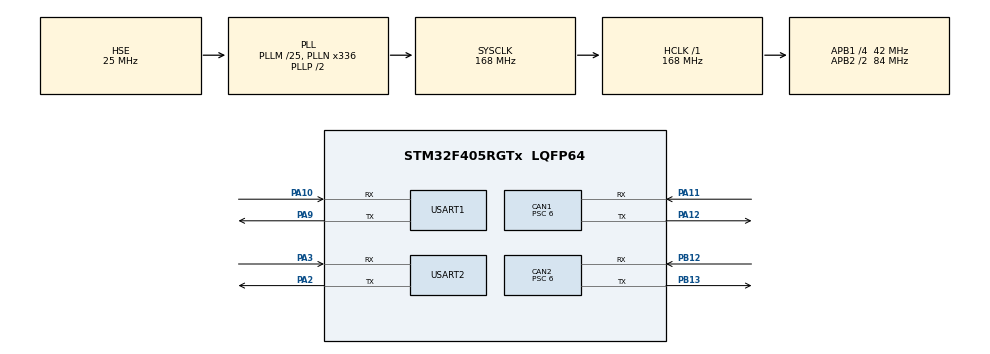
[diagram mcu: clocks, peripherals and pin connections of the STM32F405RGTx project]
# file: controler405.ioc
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CAN1.BS1=CAN_BS1_3TQ
CAN1.BS2=CAN_BS2_3TQ
CAN1.CalculateTimeQuantum=142.85714285714286
CAN1.Prescaler=6
CAN2.BS1=CAN_BS1_3TQ
CAN2.BS2=CAN_BS2_3TQ
CAN2.CalculateTimeQuantum=142.85714285714286
CAN2.Prescaler=6
Dma.Request0=USART1_RX
Dma.Request1=USART2_TX
Dma.USART1_RX.0.Direction=DMA_PERIPH_TO_MEMORY
Dma.USART1_RX.0.FIFOMode=DMA_FIFOMODE_DISABLE
Dma.USART1_RX.0.Instance=DMA2_Stream2
Dma.USART1_RX.0.MemDataAlignment=DMA_MDATAALIGN_BYTE
Dma.USART1_RX.0.MemInc=DMA_MINC_ENABLE
Dma.USART1_RX.0.Mode=DMA_CIRCULAR
Dma.USART1_RX.0.PeriphDataAlignment=DMA_PDATAALIGN_BYTE
Dma.USART1_RX.0.PeriphInc=DMA_PINC_DISABLE
Dma.USART1_RX.0.Priority=DMA_PRIORITY_LOW
Dma.USART2_TX.1.Direction=DMA_MEMORY_TO_PERIPH
Dma.USART2_TX.1.FIFOMode=DMA_FIFOMODE_DISABLE
Dma.USART2_TX.1.Instance=DMA1_Stream6
Dma.USART2_TX.1.MemDataAlignment=DMA_MDATAALIGN_BYTE
Dma.USART2_TX.1.MemInc=DMA_MINC_ENABLE
Dma.USART2_TX.1.Mode=DMA_NORMAL
Dma.USART2_TX.1.PeriphDataAlignment=DMA_PDATAALIGN_BYTE
Dma.USART2_TX.1.PeriphInc=DMA_PINC_DISABLE
Dma.USART2_TX.1.Priority=DMA_PRIORITY_LOW
Mcu.Family=STM32F4
Mcu.Name=STM32F405RGTx
Mcu.Package=LQFP64
NVIC.CAN1_RX0_IRQn=true\:0\:0\:false\:false\:true\:true\:true
NVIC.CAN1_SCE_IRQn=true\:0\:0\:false\:false\:true\:true\:true
NVIC.CAN2_RX1_IRQn=true\:0\:0\:false\:false\:true\:true\:true
NVIC.CAN2_SCE_IRQn=true\:0\:0\:false\:false\:true\:true\:true
NVIC.DMA1_Stream6_IRQn=true\:0\:0\:false\:false\:true\:false\:true
NVIC.DMA2_Stream2_IRQn=true\:0\:0\:false\:false\:true\:false\:true
NVIC.PriorityGroup=NVIC_PRIORITYGROUP_4
NVIC.USART1_IRQn=true\:1\:0\:true\:false\:true\:true\:true
NVIC.USART2_IRQn=true\:1\:0\:true\:false\:true\:true\:true
PA10.GPIO_PuPd=GPIO_PULLUP
PA10.Mode=Asynchronous
PA10.Signal=USART1_RX
PA11.Mode=Master
PA11.Signal=CAN1_RX
PA12.Mode=Master
PA12.Signal=CAN1_TX
PA13.Mode=Serial_Wire
PA13.Signal=SYS_JTMS-SWDIO
PA14.Mode=Serial_Wire
PA14.Signal=SYS_JTCK-SWCLK
PA2.Mode=Asynchronous
PA2.Signal=USART2_TX
PA3.Mode=Asynchronous
PA3.Signal=USART2_RX
PA9.Mode=Asynchronous
PA9.Signal=USART1_TX
PB12.Mode=Slave
PB12.Signal=CAN2_RX
PB13.Mode=Slave
PB13.Signal=CAN2_TX
PH0-OSC_IN.Mode=HSE-External-Oscillator
PH0-OSC_IN.Signal=RCC_OSC_IN
PH1-OSC_OUT.Mode=HSE-External-Oscillator
PH1-OSC_OUT.Signal=RCC_OSC_OUT
ProjectManager.HeapSize=0x200
ProjectManager.StackSize=0x400
ProjectManager.TargetToolchain=MDK-ARM V5
RCC.48MHZClocksFreq_Value=84000000
RCC.AHBFreq_Value=168000000
RCC.APB1CLKDivider=RCC_HCLK_DIV4
RCC.APB1Freq_Value=42000000
RCC.APB1TimFreq_Value=84000000
RCC.APB2CLKDivider=RCC_HCLK_DIV2
RCC.APB2Freq_Value=84000000
RCC.APB2TimFreq_Value=168000000
RCC.CortexFreq_Value=168000000
RCC.HCLKFreq_Value=168000000
RCC.HSE_VALUE=25000000
RCC.HSI_VALUE=16000000
RCC.LSE_VALUE=32768
RCC.PLLM=25
RCC.PLLN=336
RCC.PLLSourceVirtual=RCC_PLLSOURCE_HSE
RCC.SYSCLKFreq_VALUE=168000000
RCC.SYSCLKSource=RCC_SYSCLKSOURCE_PLLCLK
RCC.VCOOutputFreq_Value=336000000
USART1.VirtualMode=VM_ASYNC
USART2.VirtualMode=VM_ASYNC
board=custom

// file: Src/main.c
/* USER CODE BEGIN Header */
/**
  ******************************************************************************
  * @file           : main.c
  * @brief          : Main program body
  ******************************************************************************
  * @attention
  *
  * <h2><center>&copy; Copyright (c) 2023 STMicroelectronics.
  * All rights reserved.</center></h2>
  *
  * This software component is licensed by ST under BSD 3-Clause license,
  * the "License"; You may not use this file except in compliance with the
  * License. You may obtain a copy of the License at:
  *                        opensource.org/licenses/BSD-3-Clause
  *
  ******************************************************************************
  */
/* USER CODE END Header */

#include "main.h"
#include "can.h"
#include "dma.h"
#include "usart.h"
#include "gpio.h"
#include "RM3508.h"

/* USER CODE BEGIN Includes */

#include "can_bsp.h"

uint8_t receive_buff1[255];
uint8_t tx_message1[20]="���";

int getdata_x,getdata_y,getdata_w;

/* USER CODE END Includes */

void SystemClock_Config(void);

/* USER CODE BEGIN 0 */
void HAL_CAN_RxFifo0MsgPendingCallback(CAN_HandleTypeDef *hcan)
	{
		if(hcan->Instance == hcan1.Instance)
		{
			CAN_RxHeaderTypeDef RxMessage;
		uint8_t RxData[8] = {0};

		HAL_CAN_GetRxMessage(&hcan1, CAN_RX_FIFO0, &RxMessage, RxData);

		if(RxMessage.StdId>=0x201 && RxMessage.StdId<=0x204)
		{

			RM3508_Get_Feedback(RxMessage.StdId, RxData);
		}

		}
	}

/* USER CODE END 0 */

int main(void)
{

  /* MCU Configuration--------------------------------------------------------*/

  /* Reset of all peripherals, Initializes the Flash interface and the Systick. */
  HAL_Init();

  /* Configure the system clock */
  SystemClock_Config();

  /* Initialize all configured peripherals */
  MX_GPIO_Init();
  MX_DMA_Init();
  MX_CAN1_Init();
  MX_USART1_UART_Init();
  MX_USART2_UART_Init();
  MX_CAN2_Init();
  /* USER CODE BEGIN 2 */

	CAN_Init(&hcan1);
	CAN_Init(&hcan2);

__HAL_UART_ENABLE_IT(&huart1, UART_IT_IDLE);
__HAL_UART_ENABLE_IT(&huart2, UART_IT_IDLE);

HAL_UART_Receive_DMA(&huart1,(uint8_t*)receive_buff1, 255);
HAL_UART_Transmit_DMA(&huart2,(uint8_t*)tx_message1,20);

  /* USER CODE END 2 */

  /* Infinite loop */
  while (1)
  {

  }
}

void SystemClock_Config(void)
{
  RCC_OscInitTypeDef RCC_OscInitStruct = {0};
  RCC_ClkInitTypeDef RCC_ClkInitStruct = {0};

  /** Configure the main internal regulator output voltage
  */
  __HAL_RCC_PWR_CLK_ENABLE();
  __HAL_PWR_VOLTAGESCALING_CONFIG(PWR_REGULATOR_VOLTAGE_SCALE1);
  /** Initializes the CPU, AHB and APB busses clocks
  */
  RCC_OscInitStruct.OscillatorType = RCC_OSCILLATORTYPE_HSE;
  RCC_OscInitStruct.HSEState = RCC_HSE_ON;
  RCC_OscInitStruct.PLL.PLLState = RCC_PLL_ON;
  RCC_OscInitStruct.PLL.PLLSource = RCC_PLLSOURCE_HSE;
  RCC_OscInitStruct.PLL.PLLM = 25;
  RCC_OscInitStruct.PLL.PLLN = 336;
  RCC_OscInitStruct.PLL.PLLP = RCC_PLLP_DIV2;
  RCC_OscInitStruct.PLL.PLLQ = 4;
  if (HAL_RCC_OscConfig(&RCC_OscInitStruct) != HAL_OK)
  {
    Error_Handler();
  }
  /** Initializes the CPU, AHB and APB busses clocks
  */
  RCC_ClkInitStruct.ClockType = RCC_CLOCKTYPE_HCLK|RCC_CLOCKTYPE_SYSCLK
                              |RCC_CLOCKTYPE_PCLK1|RCC_CLOCKTYPE_PCLK2;
  RCC_ClkInitStruct.SYSCLKSource = RCC_SYSCLKSOURCE_PLLCLK;
  RCC_ClkInitStruct.AHBCLKDivider = RCC_SYSCLK_DIV1;
  RCC_ClkInitStruct.APB1CLKDivider = RCC_HCLK_DIV4;
  RCC_ClkInitStruct.APB2CLKDivider = RCC_HCLK_DIV2;

  if (HAL_RCC_ClockConfig(&RCC_ClkInitStruct, FLASH_LATENCY_5) != HAL_OK)
  {
    Error_Handler();
  }
}

void Error_Handler(void)
{
}

/************************ (C) COPYRIGHT STMicroelectronics *****END OF FILE****/
